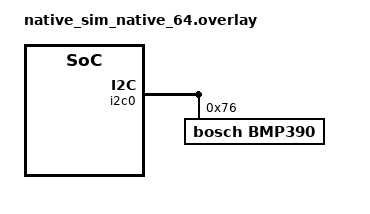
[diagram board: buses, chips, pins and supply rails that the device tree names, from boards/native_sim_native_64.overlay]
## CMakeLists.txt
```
cmake_minimum_required(VERSION 3.20.0)

find_package(Zephyr REQUIRED HINTS $ENV{ZEPHYR_BASE})
project(zephyrair)

target_include_directories(app PRIVATE
    src
    src/bmp3_api
)

target_sources(app PRIVATE
    src/main.c
    src/bmp390_bridge.c
    src/bmp3_api/bmp3.c
    src/dsp_filter.c
)

target_sources_ifdef(CONFIG_EMUL app PRIVATE
    src/bmp390_emul.c
)
```

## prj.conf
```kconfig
# Console and floating-point formatting
CONFIG_PRINTK=y
CONFIG_CBPRINTF_FP_SUPPORT=y

# Thread stack sizing
CONFIG_MAIN_STACK_SIZE=2048

# I2C driver and interactive shell
CONFIG_I2C=y
CONFIG_SHELL=y
```

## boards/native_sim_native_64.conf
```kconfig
# Simulator-specific hardware emulation and console routing
CONFIG_EMUL=y
CONFIG_I2C_EMUL=y
CONFIG_NATIVE_UART_0_ON_STDINOUT=y
```

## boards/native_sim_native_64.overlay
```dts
/*
 * ZephyrAir Devicetree Overlay for native_sim
 * Wires the Bosch BMP390 emulator to the virtual I2C0 bus at address 0x76
 */
&i2c0 {
	status = "okay";
	bmp390: bmp390@76 {
		compatible = "bosch,bmp390";
		reg = <0x76>;
		status = "okay";
	};
};
```

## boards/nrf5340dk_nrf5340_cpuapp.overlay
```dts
/*
 * Devicetree overlay for Nordic nRF5340 DK (Application Core)
 * Connects the Bosch BMP390 sensor to TWIM1 (I2C1) at address 0x76.
 */
&i2c1 {
	status = "okay";
	bmp390: bmp390@76 {
		compatible = "bosch,bmp390";
		reg = <0x76>;
		status = "okay";
	};
};
```

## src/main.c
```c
#include <zephyr/kernel.h>
#include <zephyr/sys/printk.h>
#include <zephyr/drivers/i2c.h>
#include <zephyr/shell/shell.h>
#include <stdlib.h>
#include "bmp390_bridge.h"
#include "dsp_filter.h"

#define BMP390_NODE DT_NODELABEL(bmp390)
static const struct i2c_dt_spec bmp390_i2c = I2C_DT_SPEC_GET(BMP390_NODE);
static struct bmp3_dev bmp3_sensor;

/* Runtime state controlled via Zephyr Shell */
static volatile bool     g_streaming_enabled = true;
static volatile uint32_t g_odr_hz            = 10;

struct raw_sensor_data {
    uint32_t timestamp_ms;
    float    raw_pressure_pa;
    float    raw_temp_c;
};

struct telemetry_data {
    uint32_t timestamp_ms;
    float    pressure_pa;
    float    temp_c;
    float    altitude_m;
};

K_MSGQ_DEFINE(raw_data_msgq, sizeof(struct raw_sensor_data), 10, 4);
K_MSGQ_DEFINE(telemetry_msgq, sizeof(struct telemetry_data), 10, 4);

/* Sensor acquisition thread */
#define SENSOR_THREAD_STACK_SIZE 2048
#define SENSOR_THREAD_PRIORITY   5

void sensor_thread_entry(void *arg1, void *arg2, void *arg3)
{
    ARG_UNUSED(arg1);
    ARG_UNUSED(arg2);
    ARG_UNUSED(arg3);

    int ret = bmp390_bridge_init(&bmp3_sensor, &bmp390_i2c);
    if (ret != 0) {
        printk("[Sensor Thread] Failed to initialize BMP390 (%d)\n", ret);
        return;
    }

    while (1) {
        if (g_streaming_enabled) {
            struct raw_sensor_data raw;
            raw.timestamp_ms = k_uptime_get_32();

            ret = bmp390_bridge_sample_fetch(&bmp3_sensor,
                                             &raw.raw_pressure_pa,
                                             &raw.raw_temp_c);
            if (ret == 0) {
                k_msgq_put(&raw_data_msgq, &raw, K_NO_WAIT);
            } else {
                printk("[Sensor Thread] Sample fetch failed after %d retries\n",
                       BMP390_I2C_MAX_RETRIES);
            }
        }

        uint32_t hz = g_odr_hz;
        if (hz == 0) {
            hz = 1;
        }
        k_msleep(1000U / hz);
    }
}

K_THREAD_DEFINE(sensor_tid, SENSOR_THREAD_STACK_SIZE,
                sensor_thread_entry, NULL, NULL, NULL,
                SENSOR_THREAD_PRIORITY, 0, 0);

/* Signal processing thread */
#define PROCESS_THREAD_STACK_SIZE 1024
#define PROCESS_THREAD_PRIORITY   6

void process_thread_entry(void *arg1, void *arg2, void *arg3)
{
    ARG_UNUSED(arg1);
    ARG_UNUSED(arg2);
    ARG_UNUSED(arg3);

    struct raw_sensor_data raw;
    struct dsp_iir_filter pressure_filter;

    dsp_iir_init(&pressure_filter, DSP_DEFAULT_IIR_ALPHA);

    while (1) {
        k_msgq_get(&raw_data_msgq, &raw, K_FOREVER);

        float filtered_pressure = dsp_iir_update(&pressure_filter, raw.raw_pressure_pa);

        struct telemetry_data telem = {
            .timestamp_ms = raw.timestamp_ms,
            .pressure_pa  = filtered_pressure,
            .temp_c       = raw.raw_temp_c,
            .altitude_m   = dsp_calculate_altitude(filtered_pressure)
        };

        k_msgq_put(&telemetry_msgq, &telem, K_NO_WAIT);
    }
}

K_THREAD_DEFINE(process_tid, PROCESS_THREAD_STACK_SIZE,
                process_thread_entry, NULL, NULL, NULL,
                PROCESS_THREAD_PRIORITY, 0, 0);

/* UART telemetry output thread */
#define UART_THREAD_STACK_SIZE 1024
#define UART_THREAD_PRIORITY   7

void uart_thread_entry(void *arg1, void *arg2, void *arg3)
{
    ARG_UNUSED(arg1);
    ARG_UNUSED(arg2);
    ARG_UNUSED(arg3);

    struct telemetry_data telem;

    while (1) {
        k_msgq_get(&telemetry_msgq, &telem, K_FOREVER);

        printk("P:%.2f,T:%.2f,A:%.2f\n",
               (double)telem.pressure_pa,
               (double)telem.temp_c,
               (double)telem.altitude_m);
    }
}

K_THREAD_DEFINE(uart_tid, UART_THREAD_STACK_SIZE,
                uart_thread_entry, NULL, NULL, NULL,
                UART_THREAD_PRIORITY, 0, 0);

/* Shell command handlers */
static int cmd_sensor_start(const struct shell *sh, size_t argc, char **argv)
{
    ARG_UNUSED(argc);
    ARG_UNUSED(argv);

    g_streaming_enabled = true;
    shell_print(sh, "Sensor streaming started (%u Hz).", g_odr_hz);
    return 0;
}

static int cmd_sensor_stop(const struct shell *sh, size_t argc, char **argv)
{
    ARG_UNUSED(argc);
    ARG_UNUSED(argv);

    g_streaming_enabled = false;
    shell_print(sh, "Sensor streaming stopped.");
    return 0;
}

static int cmd_sensor_odr(const struct shell *sh, size_t argc, char **argv)
{
    if (argc < 2) {
        shell_error(sh, "Usage: sensor odr <hz> (1..50)");
        return -EINVAL;
    }

    int hz = atoi(argv[1]);
    if (hz < 1 || hz > 50) {
        shell_error(sh, "Invalid ODR '%s'. Expected 1..50 Hz.", argv[1]);
        return -EINVAL;
    }

    g_odr_hz = (uint32_t)hz;
    shell_print(sh, "Sensor ODR set to %u Hz (%u ms).",
                g_odr_hz, 1000U / g_odr_hz);
    return 0;
}

static int cmd_sensor_status(const struct shell *sh, size_t argc, char **argv)
{
    ARG_UNUSED(argc);
    ARG_UNUSED(argv);

    struct bmp390_diag_stats stats;
    bmp390_bridge_get_stats(&stats);

    shell_print(sh, "BMP390 Status:");
    shell_print(sh, "  Streaming     : %s", g_streaming_enabled ? "ACTIVE" : "STOPPED");
    shell_print(sh, "  Sample Rate   : %u Hz (%u ms)", g_odr_hz, 1000U / g_odr_hz);
    shell_print(sh, "  Chip ID       : 0x%02X", bmp3_sensor.chip_id);
    shell_print(sh, "  Total Samples : %u", stats.total_samples);
    shell_print(sh, "  I2C Retries   : %u", stats.i2c_retries);
    shell_print(sh, "  I2C Failures  : %u", stats.i2c_failures);
    shell_print(sh, "  Bus Health    : %s", stats.in_error_state ? "FAULT" : "OK");
    return 0;
}

static int cmd_sensor_fault(const struct shell *sh, size_t argc, char **argv)
{
#ifdef CONFIG_EMUL
    if (argc < 2) {
        shell_error(sh, "Usage: sensor fault <count>");
        return -EINVAL;
    }

    int count = atoi(argv[1]);
    if (count < 0 || count > 100) {
        shell_error(sh, "Invalid fault count (0..100).");
        return -EINVAL;
    }

    bmp390_emul_inject_faults((uint32_t)count);
    shell_print(sh, "Injected %d I2C fault(s).", count);
    return 0;
#else
    ARG_UNUSED(argc);
    ARG_UNUSED(argv);
    shell_print(sh, "Fault injection is only supported on native_sim (CONFIG_EMUL).");
    return -ENOTSUP;
#endif
}

SHELL_STATIC_SUBCMD_SET_CREATE(sub_sensor,
    SHELL_CMD(start,  NULL, "Start sensor streaming",                cmd_sensor_start),
    SHELL_CMD(stop,   NULL, "Stop sensor streaming",                 cmd_sensor_stop),
    SHELL_CMD(odr,    NULL, "Set sampling rate in Hz (1..50)",       cmd_sensor_odr),
    SHELL_CMD(status, NULL, "Show sensor and I2C diagnostic stats",  cmd_sensor_status),
    SHELL_CMD(fault,  NULL, "Inject simulated I2C NACK faults",      cmd_sensor_fault),
    SHELL_SUBCMD_SET_END
);

SHELL_CMD_REGISTER(sensor, &sub_sensor, "BMP390 sensor control commands", NULL);

int main(void)
{
    printk("ZephyrAir initialized (BMP390 I2C telemetry node)\n");
    return 0;
}
```

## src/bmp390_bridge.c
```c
/*
 * Copyright (c) 2026 ZephyrAir Project
 * SPDX-License-Identifier: Apache-2.0
 *
 * I2C hardware abstraction layer for the Bosch BMP3 Sensor API.
 */

#include <zephyr/kernel.h>
#include <zephyr/sys/printk.h>
#include <string.h>
#include "bmp390_bridge.h"

static struct bmp390_diag_stats g_diag_stats = { 0 };

static BMP3_INTF_RET_TYPE bmp390_i2c_read(uint8_t reg_addr, uint8_t *read_data,
                                          uint32_t len, void *intf_ptr)
{
    const struct i2c_dt_spec *i2c_spec = (const struct i2c_dt_spec *)intf_ptr;

    for (int attempt = 1; attempt <= BMP390_I2C_MAX_RETRIES; attempt++) {
        int ret = i2c_write_read_dt(i2c_spec, &reg_addr, 1, read_data, len);
        if (ret == 0) {
            return BMP3_INTF_RET_SUCCESS;
        }

        g_diag_stats.i2c_retries++;
        printk("[BMP390 I2C] Read NACK on reg 0x%02X (attempt %d/%d)\n",
               reg_addr, attempt, BMP390_I2C_MAX_RETRIES);
        k_msleep(2);
    }

    g_diag_stats.i2c_failures++;
    g_diag_stats.in_error_state = true;
    return BMP3_E_COMM_FAIL;
}

static BMP3_INTF_RET_TYPE bmp390_i2c_write(uint8_t reg_addr, const uint8_t *write_data,
                                           uint32_t len, void *intf_ptr)
{
    const struct i2c_dt_spec *i2c_spec = (const struct i2c_dt_spec *)intf_ptr;
    uint8_t buf[64];

    if (len + 1 > sizeof(buf)) {
        return BMP3_E_COMM_FAIL;
    }

    buf[0] = reg_addr;
    memcpy(&buf[1], write_data, len);

    for (int attempt = 1; attempt <= BMP390_I2C_MAX_RETRIES; attempt++) {
        int ret = i2c_write_dt(i2c_spec, buf, len + 1);
        if (ret == 0) {
            return BMP3_INTF_RET_SUCCESS;
        }

        g_diag_stats.i2c_retries++;
        printk("[BMP390 I2C] Write NACK on reg 0x%02X (attempt %d/%d)\n",
               reg_addr, attempt, BMP390_I2C_MAX_RETRIES);
        k_msleep(2);
    }

    g_diag_stats.i2c_failures++;
    g_diag_stats.in_error_state = true;
    return BMP3_E_COMM_FAIL;
}

static void bmp390_delay_us(uint32_t period, void *intf_ptr)
{
    ARG_UNUSED(intf_ptr);
    k_usleep(period);
}

int bmp390_bridge_init(struct bmp3_dev *dev, const struct i2c_dt_spec *i2c_spec)
{
    if (!dev || !i2c_spec) {
        return -EINVAL;
    }

    if (!i2c_is_ready_dt(i2c_spec)) {
        printk("[BMP390 Bridge] ERROR: I2C bus is not ready!\n");
        return -ENODEV;
    }

    memset(&g_diag_stats, 0, sizeof(g_diag_stats));

    memset(dev, 0, sizeof(struct bmp3_dev));
    dev->intf     = BMP3_I2C_INTF;
    dev->intf_ptr = (void *)i2c_spec;
    dev->read     = bmp390_i2c_read;
    dev->write    = bmp390_i2c_write;
    dev->delay_us = bmp390_delay_us;

    /* Verify chip ID, perform soft reset, and load NVM calibration data */
    int8_t rslt = bmp3_init(dev);
    if (rslt != BMP3_OK) {
        printk("[BMP390 Bridge] ERROR: bmp3_init failed with code %d\n", rslt);
        return -EIO;
    }

    /* Enable pressure and temperature with 4x pressure oversampling at 50 Hz */
    struct bmp3_settings settings = { 0 };
    settings.press_en            = BMP3_ENABLE;
    settings.temp_en             = BMP3_ENABLE;
    settings.odr_filter.press_os = BMP3_OVERSAMPLING_4X;
    settings.odr_filter.temp_os  = BMP3_NO_OVERSAMPLING;
    settings.odr_filter.odr      = BMP3_ODR_50_HZ;

    uint16_t settings_sel = BMP3_SEL_PRESS_EN |
                            BMP3_SEL_TEMP_EN  |
                            BMP3_SEL_PRESS_OS |
                            BMP3_SEL_TEMP_OS  |
                            BMP3_SEL_ODR;

    rslt = bmp3_set_sensor_settings(settings_sel, &settings, dev);
    if (rslt != BMP3_OK) {
        printk("[BMP390 Bridge] ERROR: bmp3_set_sensor_settings failed (%d)\n", rslt);
        return -EIO;
    }

    settings.op_mode = BMP3_MODE_NORMAL;
    rslt = bmp3_set_op_mode(&settings, dev);
    if (rslt != BMP3_OK) {
        printk("[BMP390 Bridge] ERROR: bmp3_set_op_mode failed (%d)\n", rslt);
        return -EIO;
    }

    printk("[BMP390 Bridge] Initialized BMP390 (Chip ID: 0x%02X, I2C: 0x%02X)\n",
           dev->chip_id, i2c_spec->addr);

    return 0;
}

int bmp390_bridge_sample_fetch(struct bmp3_dev *dev, float *pressure_pa, float *temp_c)
{
    struct bmp3_data comp_data = { 0 };

    int8_t rslt = bmp3_get_sensor_data(BMP3_PRESS_TEMP, &comp_data, dev);
    if (rslt != BMP3_OK) {
        return -EIO;
    }

    g_diag_stats.total_samples++;
    g_diag_stats.in_error_state = false;

    *pressure_pa = (float)comp_data.pressure;
    *temp_c      = (float)comp_data.temperature;

    return 0;
}

void bmp390_bridge_get_stats(struct bmp390_diag_stats *stats)
{
    if (stats) {
        *stats = g_diag_stats;
    }
}
```

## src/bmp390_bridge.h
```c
/*
 * Copyright (c) 2026 ZephyrAir Project
 * SPDX-License-Identifier: Apache-2.0
 *
 * I2C hardware abstraction layer for the Bosch BMP3 Sensor API.
 */

#ifndef ZEPHYRAIR_BMP390_BRIDGE_H_
#define ZEPHYRAIR_BMP390_BRIDGE_H_

#include <zephyr/drivers/i2c.h>
#include <stdbool.h>
#include <stdint.h>
#include "bmp3.h"

#define BMP390_I2C_MAX_RETRIES 3

struct bmp390_diag_stats {
    uint32_t total_samples;
    uint32_t i2c_retries;
    uint32_t i2c_failures;
    bool     in_error_state;
};

int bmp390_bridge_init(struct bmp3_dev *dev, const struct i2c_dt_spec *i2c_spec);
int bmp390_bridge_sample_fetch(struct bmp3_dev *dev, float *pressure_pa, float *temp_c);
void bmp390_bridge_get_stats(struct bmp390_diag_stats *stats);
void bmp390_emul_inject_faults(uint32_t count);

#endif /* ZEPHYRAIR_BMP390_BRIDGE_H_ */
```

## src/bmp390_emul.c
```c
/*
 * Copyright (c) 2026 ZephyrAir Project
 * SPDX-License-Identifier: Apache-2.0
 *
 * I2C bus emulator for the Bosch BMP390 barometric pressure sensor.
 */

#define DT_DRV_COMPAT bosch_bmp390

#include <zephyr/kernel.h>
#include <zephyr/device.h>
#include <zephyr/drivers/emul.h>
#include <zephyr/drivers/i2c.h>
#include <zephyr/drivers/i2c_emul.h>
#include <zephyr/logging/log.h>
#include <math.h>

LOG_MODULE_REGISTER(bmp390_emul, CONFIG_LOG_DEFAULT_LEVEL);

/* BMP390 register addresses */
#define BMP390_REG_CHIP_ID   0x00
#define BMP390_REG_ERR       0x02
#define BMP390_REG_STATUS    0x03
#define BMP390_REG_DATA_0    0x04 /* Pressure XLSB [7:0]   */
#define BMP390_REG_DATA_1    0x05 /* Pressure LSB  [15:8]  */
#define BMP390_REG_DATA_2    0x06 /* Pressure MSB  [23:16] */
#define BMP390_REG_DATA_3    0x07 /* Temp XLSB     [7:0]   */
#define BMP390_REG_DATA_4    0x08 /* Temp LSB      [15:8]  */
#define BMP390_REG_DATA_5    0x09 /* Temp MSB      [23:16] */
#define BMP390_REG_EVENT     0x10
#define BMP390_REG_INT_STAT  0x11
#define BMP390_REG_PWR_CTRL  0x1B
#define BMP390_REG_OSR       0x1C
#define BMP390_REG_ODR       0x1D
#define BMP390_REG_CONFIG    0x1F
#define BMP390_REG_CALIB0    0x31 /* NVM trimming coefficients (21 bytes) */
#define BMP390_REG_CMD       0x7E

#define BMP390_CHIP_ID_VAL   0x60
#define BMP390_NUM_REGS      0x80

/* Status register bit definitions */
#define BMP390_STATUS_CMD_RDY    BIT(4)
#define BMP390_STATUS_DRDY_PRESS BIT(5)
#define BMP390_STATUS_DRDY_TEMP  BIT(6)

struct bmp390_emul_data {
    uint8_t cur_reg;
    uint8_t regs[BMP390_NUM_REGS];
    uint32_t step_count;
};

/* Remaining consecutive I2C transfers to fail with -EIO for fault testing */
static volatile uint32_t g_injected_faults = 0;

void bmp390_emul_inject_faults(uint32_t count)
{
    g_injected_faults = count;
}

struct bmp390_emul_cfg {
    uint16_t addr;
};

/*
 * Default NVM calibration coefficients (registers 0x31..0x45) used by
 * the Bosch BMP3 compensation formulas.
 */
static const uint8_t bmp390_default_calib[21] = {
    0xB6, 0x6C, /* par_t1 */
    0x00, 0x4C, /* par_t2 */
    0xF6,       /* par_t3 */
    0x00, 0x4C, /* par_p1 */
    0x00, 0x40, /* par_p2 */
    0x00,       /* par_p3 */
    0x00,       /* par_p4 */
    0x10, 0x27, /* par_p5 */
    0x80, 0x02, /* par_p6 */
    0x00,       /* par_p7 */
    0x00,       /* par_p8 */
    0x00, 0x00, /* par_p9 */
    0x00,       /* par_p10 */
    0x00        /* par_p11 */
};

/* Synthesizes 24-bit uncompensated ADC readings prior to a data register read */
static void bmp390_emul_update_adc(struct bmp390_emul_data *data)
{
    data->step_count++;

    uint32_t raw_temp = 0x815F9D + (int32_t)(50000.0f * sinf(data->step_count * 0.03f));
    uint32_t raw_press = 0x6DDD00 + (int32_t)(30000.0f * cosf(data->step_count * 0.05f));

    data->regs[BMP390_REG_STATUS] = BMP390_STATUS_CMD_RDY |
                                    BMP390_STATUS_DRDY_PRESS |
                                    BMP390_STATUS_DRDY_TEMP;
    data->regs[BMP390_REG_INT_STAT] = BIT(3);
    data->regs[BMP390_REG_EVENT]    = 0x01;

    /* 24-bit little-endian pressure ADC count */
    data->regs[BMP390_REG_DATA_0] = (uint8_t)(raw_press & 0xFF);
    data->regs[BMP390_REG_DATA_1] = (uint8_t)((raw_press >> 8) & 0xFF);
    data->regs[BMP390_REG_DATA_2] = (uint8_t)((raw_press >> 16) & 0xFF);

    /* 24-bit little-endian temperature ADC count */
    data->regs[BMP390_REG_DATA_3] = (uint8_t)(raw_temp & 0xFF);
    data->regs[BMP390_REG_DATA_4] = (uint8_t)((raw_temp >> 8) & 0xFF);
    data->regs[BMP390_REG_DATA_5] = (uint8_t)((raw_temp >> 16) & 0xFF);
}

static int bmp390_emul_transfer_i2c(const struct emul *target, struct i2c_msg *msgs, int num_msgs, int addr)
{
    ARG_UNUSED(addr);
    struct bmp390_emul_data *data = target->data;

    if (g_injected_faults > 0) {
        g_injected_faults--;
        return -EIO;
    }

    if (num_msgs == 2) {
        if (msgs[0].flags & I2C_MSG_READ || msgs[0].len < 1) {
            return -EIO;
        }
        data->cur_reg = msgs[0].buf[0];

        if (data->cur_reg <= BMP390_REG_INT_STAT) {
            bmp390_emul_update_adc(data);
        }

        if (msgs[1].flags & I2C_MSG_READ) {
            for (int i = 0; i < msgs[1].len; i++) {
                uint8_t r = data->cur_reg + i;
                msgs[1].buf[i] = (r < BMP390_NUM_REGS) ? data->regs[r] : 0x00;
            }
        } else {
            for (int i = 0; i < msgs[1].len; i++) {
                uint8_t r = data->cur_reg + i;
                if (r < BMP390_NUM_REGS) {
                    data->regs[r] = msgs[1].buf[i];
                }
            }
        }
    } else if (num_msgs == 1) {
        if (!(msgs[0].flags & I2C_MSG_READ)) {
            /* BMP390 burst writes use interleaved [reg_addr, reg_data] pairs */
            for (int i = 0; i + 1 < msgs[0].len; i += 2) {
                uint8_t r = msgs[0].buf[i];
                uint8_t v = msgs[0].buf[i + 1];
                if (r == BMP390_REG_CMD && v == 0xB6) {
                    data->regs[BMP390_REG_ERR] = 0x00;
                    data->regs[BMP390_REG_STATUS] = BMP390_STATUS_CMD_RDY;
                } else if (r < BMP390_NUM_REGS) {
                    data->regs[r] = v;
                }
            }
        } else {
            for (int i = 0; i < msgs[0].len; i++) {
                uint8_t r = data->cur_reg + i;
                msgs[0].buf[i] = (r < BMP390_NUM_REGS) ? data->regs[r] : 0x00;
            }
        }
    } else {
        return -EIO;
    }

    return 0;
}

static struct i2c_emul_api bmp390_emul_api_i2c = {
    .transfer = bmp390_emul_transfer_i2c,
};

static int bmp390_emul_init(const struct emul *target, const struct device *parent)
{
    ARG_UNUSED(parent);
    struct bmp390_emul_data *data = target->data;

    memset(data->regs, 0, sizeof(data->regs));

    data->regs[BMP390_REG_CHIP_ID] = BMP390_CHIP_ID_VAL;
    data->regs[BMP390_REG_STATUS]  = BMP390_STATUS_CMD_RDY;
    memcpy(&data->regs[BMP390_REG_CALIB0], bmp390_default_calib, sizeof(bmp390_default_calib));

    data->step_count = 0;
    bmp390_emul_update_adc(data);

    LOG_INF("BMP390 I2C emulator initialized at 0x%02X",
            ((const struct bmp390_emul_cfg *)target->cfg)->addr);

    return 0;
}

static int bmp390_dummy_init(const struct device *dev)
{
    ARG_UNUSED(dev);
    return 0;
}

#define INIT_BMP390(n)                                                                             \
    static struct bmp390_emul_data bmp390_emul_data_##n;                                          \
    static const struct bmp390_emul_cfg bmp390_emul_cfg_##n = {                                    \
        .addr = DT_INST_REG_ADDR(n),                                                               \
    };                                                                                             \
    DEVICE_DT_INST_DEFINE(n, bmp390_dummy_init, NULL, NULL, NULL, POST_KERNEL,                     \
                          CONFIG_APPLICATION_INIT_PRIORITY, NULL);                                 \
    EMUL_DT_INST_DEFINE(n, bmp390_emul_init, &bmp390_emul_data_##n, &bmp390_emul_cfg_##n,          \
                        &bmp390_emul_api_i2c, NULL)

DT_INST_FOREACH_STATUS_OKAY(INIT_BMP390)
```

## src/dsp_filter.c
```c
#include "dsp_filter.h"
#include <math.h>
#include <stddef.h>

void dsp_iir_init(struct dsp_iir_filter *filter, float alpha)
{
    if (filter == NULL) {
        return;
    }

    if (alpha <= 0.0f || alpha > 1.0f) {
        filter->alpha = DSP_DEFAULT_IIR_ALPHA;
    } else {
        filter->alpha = alpha;
    }

    filter->state = 0.0f;
    filter->initialized = false;
}

float dsp_iir_update(struct dsp_iir_filter *filter, float sample)
{
    if (filter == NULL) {
        return sample;
    }

    if (!filter->initialized) {
        filter->state = sample;
        filter->initialized = true;
    } else {
        /* y[n] = (1 - alpha) * y[n-1] + alpha * x[n] */
        filter->state = ((1.0f - filter->alpha) * filter->state) + (filter->alpha * sample);
    }

    return filter->state;
}

float dsp_calculate_altitude(float pressure_pa)
{
    if (pressure_pa <= 0.0f) {
        return 0.0f;
    }

    return 44330.0f * (1.0f - powf(pressure_pa / DSP_SEA_LEVEL_PRESSURE_PA, 0.1903f));
}
```

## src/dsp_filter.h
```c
#ifndef ZEPHYRAIR_DSP_FILTER_H_
#define ZEPHYRAIR_DSP_FILTER_H_

#include <stdbool.h>

#define DSP_SEA_LEVEL_PRESSURE_PA 101325.0f
#define DSP_DEFAULT_IIR_ALPHA     0.15f

/* First-order IIR low-pass filter state: y[n] = (1 - alpha) * y[n-1] + alpha * x[n] */
struct dsp_iir_filter {
    float alpha;
    float state;
    bool  initialized;
};

void dsp_iir_init(struct dsp_iir_filter *filter, float alpha);
float dsp_iir_update(struct dsp_iir_filter *filter, float sample);
float dsp_calculate_altitude(float pressure_pa);

#endif /* ZEPHYRAIR_DSP_FILTER_H_ */
```
